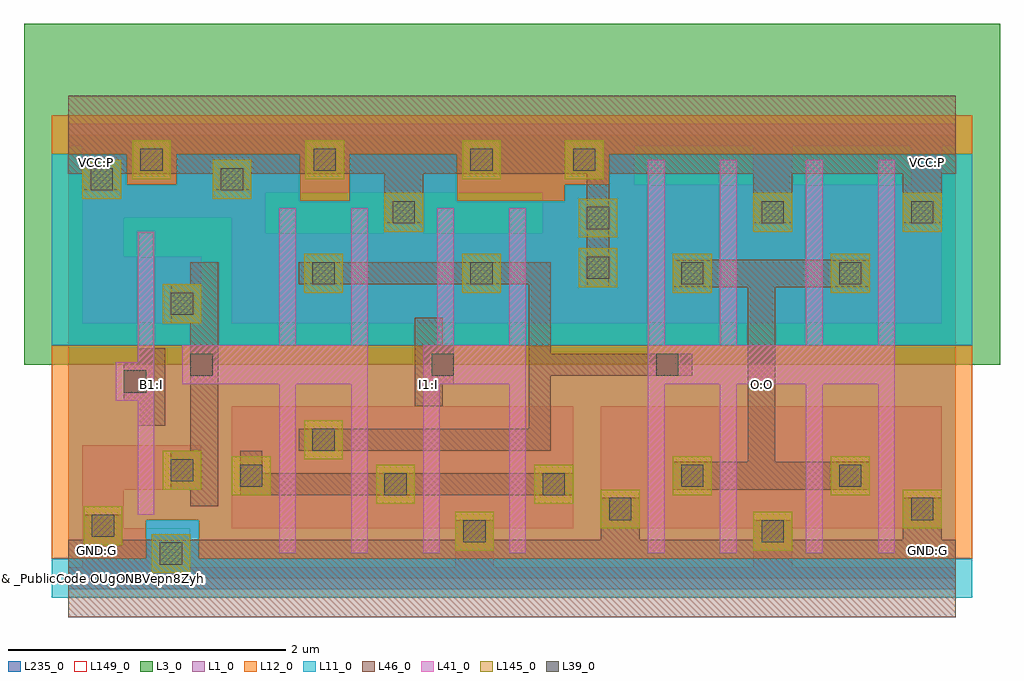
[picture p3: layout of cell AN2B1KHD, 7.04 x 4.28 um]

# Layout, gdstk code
from math import pi, radians
import gdstk
lib = gdstk.Library(unit=1e-6, precision=1e-09)
def R(c, l, rs):  # rectangles x0, y0, x1, y1
    for r in rs: c.add(gdstk.rectangle(r[:2], r[2:], *l))
def P(c, l, *ps):  # polygons
    for p in ps: c.add(gdstk.Polygon(p, *l))
L1_0 = (1, 0)
L3_0 = (3, 0)
L11_0 = (11, 0)
L12_0 = (12, 0)
L39_0 = (39, 0)
L41_0 = (41, 0)
L46_0 = (46, 0)
L145_0 = (145, 0)
L149_0 = (149, 0)
L235_0 = (235, 0)

c_mc = lib.new_cell('MC')
R(c_mc, L39_0, [(-0.08,-0.08,0.08,0.08)])
R(c_mc, L46_0, [(-0.08,-0.14,0.08,0.14)])
R(c_mc, L145_0, [(-0.14,-0.14,0.14,0.14)])

c_pc = lib.new_cell('PC')
R(c_pc, L39_0, [(-0.08,-0.08,0.08,0.08)])
R(c_pc, L41_0, [(-0.14,-0.14,0.14,0.14)])
R(c_pc, L46_0, [(-0.08,-0.14,0.08,0.14)])

ghlenmhhnjo__41gum4xw0 = lib.new_cell('GHLENMHHNJO$$41Gum4XW0')
R(ghlenmhhnjo__41gum4xw0, L1_0, [(0,-0.08,6.4,0.08), (0.4,0.08,0.88,0.36), (0,3.12,6.4,3.28)])
P(ghlenmhhnjo__41gum4xw0, L1_0, [(3.8,3.12),(3.42,3.12),(3.42,2.49),(2.56,2.49),(2.56,2.78),(3.42,2.78),(3.42,3.12),(2.28,3.12),(2.28,2.49),(1.42,2.49),(1.42,2.78),(2.28,2.78),(2.28,3.12),(1.18,3.12),(1.18,1.84),(3.8,1.84)],
  [(3.64,1.24),(1.18,1.24),(1.18,0.36),(2.79,0.36),(2.79,0.08),(3.07,0.08),(3.07,0.36),(3.64,0.36)],
  [(6.3,3.12),(6.08,3.12),(6.08,2.84),(5.22,2.84),(5.22,3.12),(4.94,3.12),(4.94,2.84),(4.08,2.84),(4.08,3.12),(3.8,3.12),(3.8,1.84),(6.3,1.84)],
  [(6.3,1.24),(3.84,1.24),(3.84,0.36),(4.94,0.36),(4.94,0.08),(5.22,0.08),(5.22,0.36),(6.3,0.36)],
  [(1.18,3.12),(0.1,3.12),(0.1,1.84),(0.96,1.84),(0.96,2.32),(0.4,2.32),(0.4,2.6),(1.18,2.6)],
  [(0.96,0.96),(0.1,0.96),(0.1,0.08),(0.4,0.08),(0.4,0.64),(0.96,0.64)])
R(ghlenmhhnjo__41gum4xw0, L3_0, [(-0.32,1.54,6.72,4)])
R(ghlenmhhnjo__41gum4xw0, L11_0, [(-0.12,-0.14,6.52,0.14), (-0.12,-0.14,6.52,0.14), (0.56,0.14,0.94,0.42)])
P(ghlenmhhnjo__41gum4xw0, L11_0, [(6.52,3.06),(3.9,3.06),(3.9,2.84),(3.58,2.84),(3.58,2.72),(2.8,2.72),(2.8,3.06),(2.03,3.06),(2.03,2.72),(1.67,2.72),(1.67,3.06),(0.78,3.06),(0.78,2.84),(0.42,2.84),(0.42,3.06),(-0.12,3.06),(-0.12,1.68),(6.52,1.68)])
P(ghlenmhhnjo__41gum4xw0, L12_0, [(6.52,3.34),(-0.12,3.34),(-0.12,3.06),(0.42,3.06),(0.42,2.84),(0.78,2.84),(0.78,3.06),(1.67,3.06),(1.67,2.72),(2.03,2.72),(2.03,3.06),(2.8,3.06),(2.8,2.72),(3.58,2.72),(3.58,2.84),(3.9,2.84),(3.9,3.06),(6.52,3.06)],
  [(6.52,1.68),(-0.12,1.68),(-0.12,0.14),(0.56,0.14),(0.56,0.42),(0.94,0.42),(0.94,0.14),(6.52,0.14)])
R(ghlenmhhnjo__41gum4xw0, L41_0, [(0.82,1.4,2.16,1.68), (2.66,1.4,3.3,1.68), (4.18,1.4,5.96,1.68)])
R(ghlenmhhnjo__41gum4xw0, L46_0, [(0.11,0.28,0.39,0.46), (3.84,0.28,4.12,0.58), (6.02,0.28,6.3,0.58), (2.28,2.56,2.56,2.92), (4.94,2.56,5.22,2.92), (6.02,2.56,6.3,2.92)])
R(ghlenmhhnjo__41gum4xw0, L149_0, [(0,0,6.4,3.2)])
R(ghlenmhhnjo__41gum4xw0, L235_0, [(0,0,6.4,3.2), (0,0,6.4,3.2), (0,0,6.4,3.2), (0,0,6.4,3.2), (0,0,6.4,3.2), (0,0,6.4,3.2), (0,0,6.4,3.2), (0,0,6.4,3.2), (0,0,6.4,3.2), (0,0,6.4,3.2), (0,0,6.4,3.2), (0,0,6.4,3.2)])
ghlenmhhnjo__41gum4xw0.add(gdstk.FlexPath([(0,0),(6.4,0)], 0.56, ends="flush", simple_path=True, layer=46, datatype=0))  # L46_0
ghlenmhhnjo__41gum4xw0.add(gdstk.FlexPath([(0,3.2),(6.4,3.2)], 0.56, ends="flush", simple_path=True, layer=46, datatype=0))  # L46_0
ghlenmhhnjo__41gum4xw0.add(gdstk.FlexPath([(4.36,0.74),(5.78,0.74)], 0.2, ends="flush", simple_path=True, layer=46, datatype=0))  # L46_0
ghlenmhhnjo__41gum4xw0.add(gdstk.FlexPath([(1.24,0.68),(3.64,0.68)], 0.16, ends="flush", simple_path=True, layer=46, datatype=0))  # L46_0
ghlenmhhnjo__41gum4xw0.add(gdstk.FlexPath([(1.66,2.2),(3.4,2.2),(3.4,1),(1.66,1)], 0.16, ends="flush", simple_path=True, layer=46, datatype=0))  # L46_0
ghlenmhhnjo__41gum4xw0.add(gdstk.FlexPath([(0.6,1.1),(0.6,1.66)], 0.2, ends="flush", simple_path=True, layer=46, datatype=0))  # L46_0
ghlenmhhnjo__41gum4xw0.add(gdstk.FlexPath([(0.98,0.52),(0.98,2.28)], 0.2, ends="flush", simple_path=True, layer=46, datatype=0))  # L46_0
ghlenmhhnjo__41gum4xw0.add(gdstk.FlexPath([(2.6,1.24),(2.6,1.88)], 0.2, ends="flush", simple_path=True, layer=46, datatype=0))  # L46_0
ghlenmhhnjo__41gum4xw0.add(gdstk.FlexPath([(1.32,0.6),(1.32,0.92)], 0.16, ends="flush", simple_path=True, layer=46, datatype=0))  # L46_0
ghlenmhhnjo__41gum4xw0.add(gdstk.FlexPath([(3.82,2.1),(3.82,2.92)], 0.16, ends="flush", simple_path=True, layer=46, datatype=0))  # L46_0
ghlenmhhnjo__41gum4xw0.add(gdstk.FlexPath([(5,0.64),(5,2.3)], 0.2, ends="flush", simple_path=True, layer=46, datatype=0))  # L46_0
ghlenmhhnjo__41gum4xw0.add(gdstk.FlexPath([(4.36,2.2),(5.78,2.2)], 0.2, ends="flush", simple_path=True, layer=46, datatype=0))  # L46_0
ghlenmhhnjo__41gum4xw0.add(gdstk.FlexPath([(3.32,1.54),(4.5,1.54)], 0.16, ends="flush", simple_path=True, layer=46, datatype=0))  # L46_0
ghlenmhhnjo__41gum4xw0.add(gdstk.FlexPath([(0.2,0),(0.2,3.2)], 0, ends="flush", simple_path=True, layer=145, datatype=0))  # L145_0
ghlenmhhnjo__41gum4xw0.add(gdstk.FlexPath([(0.6,0),(0.6,3.2)], 0, ends="flush", simple_path=True, layer=145, datatype=0))  # L145_0
ghlenmhhnjo__41gum4xw0.add(gdstk.FlexPath([(1,0),(1,3.2)], 0, ends="flush", simple_path=True, layer=145, datatype=0))  # L145_0
ghlenmhhnjo__41gum4xw0.add(gdstk.FlexPath([(1.4,0),(1.4,3.2)], 0, ends="flush", simple_path=True, layer=145, datatype=0))  # L145_0
ghlenmhhnjo__41gum4xw0.add(gdstk.FlexPath([(1.8,0),(1.8,3.2)], 0, ends="flush", simple_path=True, layer=145, datatype=0))  # L145_0
ghlenmhhnjo__41gum4xw0.add(gdstk.FlexPath([(2.2,0),(2.2,3.2)], 0, ends="flush", simple_path=True, layer=145, datatype=0))  # L145_0
ghlenmhhnjo__41gum4xw0.add(gdstk.FlexPath([(2.6,0),(2.6,3.2)], 0, ends="flush", simple_path=True, layer=145, datatype=0))  # L145_0
ghlenmhhnjo__41gum4xw0.add(gdstk.FlexPath([(3,0),(3,3.2)], 0, ends="flush", simple_path=True, layer=145, datatype=0))  # L145_0
ghlenmhhnjo__41gum4xw0.add(gdstk.FlexPath([(0,1),(6.4,1)], 0, ends="flush", simple_path=True, layer=145, datatype=0))  # L145_0
ghlenmhhnjo__41gum4xw0.add(gdstk.FlexPath([(0,1.8),(6.4,1.8)], 0, ends="flush", simple_path=True, layer=145, datatype=0))  # L145_0
ghlenmhhnjo__41gum4xw0.add(gdstk.FlexPath([(0,1.4),(6.4,1.4)], 0, ends="flush", simple_path=True, layer=145, datatype=0))  # L145_0
ghlenmhhnjo__41gum4xw0.add(gdstk.FlexPath([(3.4,0),(3.4,3.2)], 0, ends="flush", simple_path=True, layer=145, datatype=0))  # L145_0
ghlenmhhnjo__41gum4xw0.add(gdstk.FlexPath([(3.8,0),(3.8,3.2)], 0, ends="flush", simple_path=True, layer=145, datatype=0))  # L145_0
ghlenmhhnjo__41gum4xw0.add(gdstk.FlexPath([(4.2,0),(4.2,3.2)], 0, ends="flush", simple_path=True, layer=145, datatype=0))  # L145_0
ghlenmhhnjo__41gum4xw0.add(gdstk.FlexPath([(4.6,0),(4.6,3.2)], 0, ends="flush", simple_path=True, layer=145, datatype=0))  # L145_0
ghlenmhhnjo__41gum4xw0.add(gdstk.FlexPath([(5,0),(5,3.2)], 0, ends="flush", simple_path=True, layer=145, datatype=0))  # L145_0
ghlenmhhnjo__41gum4xw0.add(gdstk.FlexPath([(5.4,0),(5.4,3.2)], 0, ends="flush", simple_path=True, layer=145, datatype=0))  # L145_0
ghlenmhhnjo__41gum4xw0.add(gdstk.FlexPath([(5.8,0),(5.8,3.2)], 0, ends="flush", simple_path=True, layer=145, datatype=0))  # L145_0
ghlenmhhnjo__41gum4xw0.add(gdstk.FlexPath([(6.2,0),(6.2,3.2)], 0, ends="flush", simple_path=True, layer=145, datatype=0))  # L145_0
ghlenmhhnjo__41gum4xw0.add(gdstk.FlexPath([(0,0.2),(6.4,0.2)], 0, ends="flush", simple_path=True, layer=145, datatype=0))  # L145_0
ghlenmhhnjo__41gum4xw0.add(gdstk.FlexPath([(0,0.6),(6.4,0.6)], 0, ends="flush", simple_path=True, layer=145, datatype=0))  # L145_0
ghlenmhhnjo__41gum4xw0.add(gdstk.FlexPath([(0,2.2),(6.4,2.2)], 0, ends="flush", simple_path=True, layer=145, datatype=0))  # L145_0
ghlenmhhnjo__41gum4xw0.add(gdstk.FlexPath([(0,2.6),(6.4,2.6)], 0, ends="flush", simple_path=True, layer=145, datatype=0))  # L145_0
ghlenmhhnjo__41gum4xw0.add(gdstk.FlexPath([(0,3),(6.4,3)], 0, ends="flush", simple_path=True, layer=145, datatype=0))  # L145_0
ghlenmhhnjo__41gum4xw0.add(gdstk.FlexPath([(5.38,0.18),(5.38,3.02)], 0.12, ends="flush", simple_path=True, layer=41, datatype=0))  # L41_0
ghlenmhhnjo__41gum4xw0.add(gdstk.FlexPath([(5.9,0.18),(5.9,3.02)], 0.12, ends="flush", simple_path=True, layer=41, datatype=0))  # L41_0
ghlenmhhnjo__41gum4xw0.add(gdstk.FlexPath([(4.76,0.18),(4.76,3.02)], 0.12, ends="flush", simple_path=True, layer=41, datatype=0))  # L41_0
ghlenmhhnjo__41gum4xw0.add(gdstk.FlexPath([(4.24,0.18),(4.24,3.02)], 0.12, ends="flush", simple_path=True, layer=41, datatype=0))  # L41_0
ghlenmhhnjo__41gum4xw0.add(gdstk.FlexPath([(2.72,2.67),(2.72,1.62),(2.62,1.62),(2.62,0.18)], 0.12, ends="flush", simple_path=True, layer=41, datatype=0))  # L41_0
ghlenmhhnjo__41gum4xw0.add(gdstk.FlexPath([(3.24,0.18),(3.24,2.67)], 0.12, ends="flush", simple_path=True, layer=41, datatype=0))  # L41_0
ghlenmhhnjo__41gum4xw0.add(gdstk.FlexPath([(2.1,0.18),(2.1,2.67)], 0.12, ends="flush", simple_path=True, layer=41, datatype=0))  # L41_0
ghlenmhhnjo__41gum4xw0.add(gdstk.FlexPath([(1.58,0.18),(1.58,2.67)], 0.12, ends="flush", simple_path=True, layer=41, datatype=0))  # L41_0
ghlenmhhnjo__41gum4xw0.add(gdstk.FlexPath([(0.56,0.46),(0.56,2.5)], 0.12, ends="flush", simple_path=True, layer=41, datatype=0))  # L41_0
r = gdstk.Reference(c_mc, (2.98,3.02), rotation=pi/2); r.repetition = gdstk.Repetition(1, 1, v1=(0,0.28), v2=(-0.32,0)); ghlenmhhnjo__41gum4xw0.add(r)
r = gdstk.Reference(c_mc, (5.64,0.74), rotation=3*pi/2, x_reflection=True); r.repetition = gdstk.Repetition(1, 1, v1=(0,-0.28), v2=(-0.32,0)); ghlenmhhnjo__41gum4xw0.add(r)
r = gdstk.Reference(c_mc, (0.24,2.88), rotation=pi/2); r.repetition = gdstk.Repetition(1, 1, v1=(0,0.28), v2=(-0.32,0)); ghlenmhhnjo__41gum4xw0.add(r)
r = gdstk.Reference(c_mc, (0.82,1.98)); r.repetition = gdstk.Repetition(1, 1, v1=(0.28,0), v2=(0,0.32)); ghlenmhhnjo__41gum4xw0.add(r)
r = gdstk.Reference(c_mc, (0.82,0.78)); r.repetition = gdstk.Repetition(1, 1, v1=(0.28,0), v2=(0,0.32)); ghlenmhhnjo__41gum4xw0.add(r)
r = gdstk.Reference(c_mc, (0.25,0.38), rotation=pi/2); r.repetition = gdstk.Repetition(1, 1, v1=(0,0.28), v2=(-0.32,0)); ghlenmhhnjo__41gum4xw0.add(r)
r = gdstk.Reference(c_mc, (0.6,3.02), rotation=pi/2); r.repetition = gdstk.Repetition(1, 1, v1=(0,0.28), v2=(-0.32,0)); ghlenmhhnjo__41gum4xw0.add(r)
r = gdstk.Reference(c_mc, (1.18,2.88), rotation=pi/2); r.repetition = gdstk.Repetition(1, 1, v1=(0,0.28), v2=(-0.32,0)); ghlenmhhnjo__41gum4xw0.add(r)
r = gdstk.Reference(c_mc, (0.74,0.18), rotation=pi/2); r.repetition = gdstk.Repetition(1, 1, v1=(0,0.28), v2=(-0.32,0)); ghlenmhhnjo__41gum4xw0.add(r)
r = gdstk.Reference(c_mc, (3.5,0.68), rotation=3*pi/2, x_reflection=True); r.repetition = gdstk.Repetition(1, 1, v1=(0,-0.28), v2=(-0.32,0)); ghlenmhhnjo__41gum4xw0.add(r)
r = gdstk.Reference(c_mc, (2.98,2.2), rotation=pi/2); r.repetition = gdstk.Repetition(1, 1, v1=(0,0.28), v2=(-0.32,0)); ghlenmhhnjo__41gum4xw0.add(r)
r = gdstk.Reference(c_mc, (2.42,2.64), rotation=pi/2); r.repetition = gdstk.Repetition(1, 1, v1=(0,0.28), v2=(-0.32,0)); ghlenmhhnjo__41gum4xw0.add(r)
r = gdstk.Reference(c_mc, (2.36,0.68), rotation=3*pi/2, x_reflection=True); r.repetition = gdstk.Repetition(1, 1, v1=(0,-0.28), v2=(-0.32,0)); ghlenmhhnjo__41gum4xw0.add(r)
r = gdstk.Reference(c_mc, (3.82,2.24)); r.repetition = gdstk.Repetition(1, 1, v1=(0.28,0), v2=(0,0.32)); ghlenmhhnjo__41gum4xw0.add(r)
r = gdstk.Reference(c_mc, (1.84,2.2), rotation=pi/2); r.repetition = gdstk.Repetition(1, 1, v1=(0,0.28), v2=(-0.32,0)); ghlenmhhnjo__41gum4xw0.add(r)
r = gdstk.Reference(c_mc, (1.84,1), rotation=3*pi/2, x_reflection=True); r.repetition = gdstk.Repetition(1, 1, v1=(0,-0.28), v2=(-0.32,0)); ghlenmhhnjo__41gum4xw0.add(r)
r = gdstk.Reference(c_mc, (1.32,0.74)); r.repetition = gdstk.Repetition(1, 1, v1=(0.28,0), v2=(0,0.32)); ghlenmhhnjo__41gum4xw0.add(r)
r = gdstk.Reference(c_mc, (1.85,3.02), rotation=pi/2); r.repetition = gdstk.Repetition(1, 1, v1=(0,0.28), v2=(-0.32,0)); ghlenmhhnjo__41gum4xw0.add(r)
r = gdstk.Reference(c_mc, (2.93,0.34), rotation=3*pi/2, x_reflection=True); r.repetition = gdstk.Repetition(1, 1, v1=(0,-0.28), v2=(-0.32,0)); ghlenmhhnjo__41gum4xw0.add(r)
r = gdstk.Reference(c_mc, (3.72,3.02), rotation=pi/2); r.repetition = gdstk.Repetition(1, 1, v1=(0,0.28), v2=(-0.32,0)); ghlenmhhnjo__41gum4xw0.add(r)
r = gdstk.Reference(c_mc, (5.64,2.2), rotation=pi/2); r.repetition = gdstk.Repetition(1, 1, v1=(0,0.28), v2=(-0.32,0)); ghlenmhhnjo__41gum4xw0.add(r)
r = gdstk.Reference(c_mc, (5.08,2.64), rotation=pi/2); r.repetition = gdstk.Repetition(1, 1, v1=(0,0.28), v2=(-0.32,0)); ghlenmhhnjo__41gum4xw0.add(r)
r = gdstk.Reference(c_mc, (4.5,0.74), rotation=3*pi/2, x_reflection=True); r.repetition = gdstk.Repetition(1, 1, v1=(0,-0.28), v2=(-0.32,0)); ghlenmhhnjo__41gum4xw0.add(r)
r = gdstk.Reference(c_mc, (4.5,2.2), rotation=pi/2); r.repetition = gdstk.Repetition(1, 1, v1=(0,0.28), v2=(-0.32,0)); ghlenmhhnjo__41gum4xw0.add(r)
r = gdstk.Reference(c_mc, (3.82,2.6)); r.repetition = gdstk.Repetition(1, 1, v1=(0.28,0), v2=(0,0.32)); ghlenmhhnjo__41gum4xw0.add(r)
r = gdstk.Reference(c_mc, (6.16,0.5), rotation=3*pi/2, x_reflection=True); r.repetition = gdstk.Repetition(1, 1, v1=(0,-0.28), v2=(-0.32,0)); ghlenmhhnjo__41gum4xw0.add(r)
r = gdstk.Reference(c_mc, (5.08,0.34), rotation=3*pi/2, x_reflection=True); r.repetition = gdstk.Repetition(1, 1, v1=(0,-0.28), v2=(-0.32,0)); ghlenmhhnjo__41gum4xw0.add(r)
r = gdstk.Reference(c_mc, (6.16,2.64), rotation=pi/2); r.repetition = gdstk.Repetition(1, 1, v1=(0,0.28), v2=(-0.32,0)); ghlenmhhnjo__41gum4xw0.add(r)
r = gdstk.Reference(c_mc, (3.98,0.5), rotation=3*pi/2, x_reflection=True); r.repetition = gdstk.Repetition(1, 1, v1=(0,-0.28), v2=(-0.32,0)); ghlenmhhnjo__41gum4xw0.add(r)
r = gdstk.Reference(c_pc, (0.48,1.42)); r.repetition = gdstk.Repetition(1, 1, v1=(0.28,0), v2=(0,0.32)); ghlenmhhnjo__41gum4xw0.add(r)
r = gdstk.Reference(c_pc, (0.96,1.54)); r.repetition = gdstk.Repetition(1, 1, v1=(0.28,0), v2=(0,0.32)); ghlenmhhnjo__41gum4xw0.add(r)
r = gdstk.Reference(c_pc, (2.7,1.54)); r.repetition = gdstk.Repetition(1, 1, v1=(0.28,0), v2=(0,0.32)); ghlenmhhnjo__41gum4xw0.add(r)
r = gdstk.Reference(c_pc, (4.32,1.54), rotation=pi/2); r.repetition = gdstk.Repetition(1, 1, v1=(0,0.28), v2=(-0.32,0)); ghlenmhhnjo__41gum4xw0.add(r)
ghlenmhhnjo__41gum4xw0.add(gdstk.Label('#Id:7JQJaQKD4XF6RXVVZbbYNLABMd91ZLGaK99JL0406EKC574E4A3EOSP8MXXWHY99T6WBH22210RAL9', (0.02,0.02), layer=147, texttype=0))
ghlenmhhnjo__41gum4xw0.add(gdstk.Label('AN2B1KHD', (0,0), layer=144, texttype=0))
ghlenmhhnjo__41gum4xw0.add(gdstk.Label('VCC:P', (0.2,3), layer=101, texttype=0))
ghlenmhhnjo__41gum4xw0.add(gdstk.Label('VCC:P', (6.2,3), layer=101, texttype=0))
ghlenmhhnjo__41gum4xw0.add(gdstk.Label('GND:G', (0.2,0.2), layer=101, texttype=0))
ghlenmhhnjo__41gum4xw0.add(gdstk.Label('GND:G', (6.2,0.2), layer=101, texttype=0))
ghlenmhhnjo__41gum4xw0.add(gdstk.Label('B1:I', (0.6,1.4), layer=101, texttype=0))
ghlenmhhnjo__41gum4xw0.add(gdstk.Label('O:O', (5,1.4), layer=101, texttype=0))
ghlenmhhnjo__41gum4xw0.add(gdstk.Label('I1:I', (2.6,1.4), layer=101, texttype=0))

an2b1khd = lib.new_cell('AN2B1KHD')
R(an2b1khd, L149_0, [(0,0,6.4,3.2)])
an2b1khd.add(gdstk.Reference(ghlenmhhnjo__41gum4xw0, (0,0)))
an2b1khd.add(gdstk.Label('& _PublicCode OUgONBVepn8Zyhuhb7nzKSFGv0ozQ4p7', (0,0), layer=3, texttype=0))
an2b1khd.add(gdstk.Label('& Metric 20.48', (0,0), layer=3, texttype=0))
an2b1khd.add(gdstk.Label('& Version 2009Q1V3.0', (0,0), layer=3, texttype=0))
an2b1khd.add(gdstk.Label('& Product FSC0H_D_GENERIC_CORE', (0,0), layer=3, texttype=0))
an2b1khd.add(gdstk.Label('& Vendor Faraday_Technology_Corp.', (0,0), layer=3, texttype=0))
an2b1khd.add(gdstk.Label('#Id:7JQJaQKD4XF6RXVVZbbYNLABMd91ZLGaK99JL0406EKC574E4A3EOSP8MXXWHY99T6WBH22210RAL9', (0.02,0.02), layer=147, texttype=0))
an2b1khd.add(gdstk.Label('AN2B1KHD', (0,0), layer=144, texttype=0))
an2b1khd.add(gdstk.Label('VCC:P', (0.2,3), layer=101, texttype=0))
an2b1khd.add(gdstk.Label('VCC:P', (6.2,3), layer=101, texttype=0))
an2b1khd.add(gdstk.Label('GND:G', (0.2,0.2), layer=101, texttype=0))
an2b1khd.add(gdstk.Label('GND:G', (6.2,0.2), layer=101, texttype=0))
an2b1khd.add(gdstk.Label('B1:I', (0.6,1.4), layer=101, texttype=0))
an2b1khd.add(gdstk.Label('O:O', (5,1.4), layer=101, texttype=0))
an2b1khd.add(gdstk.Label('I1:I', (2.6,1.4), layer=101, texttype=0))

lib.write_gds('AN2B1KHD.gds')
